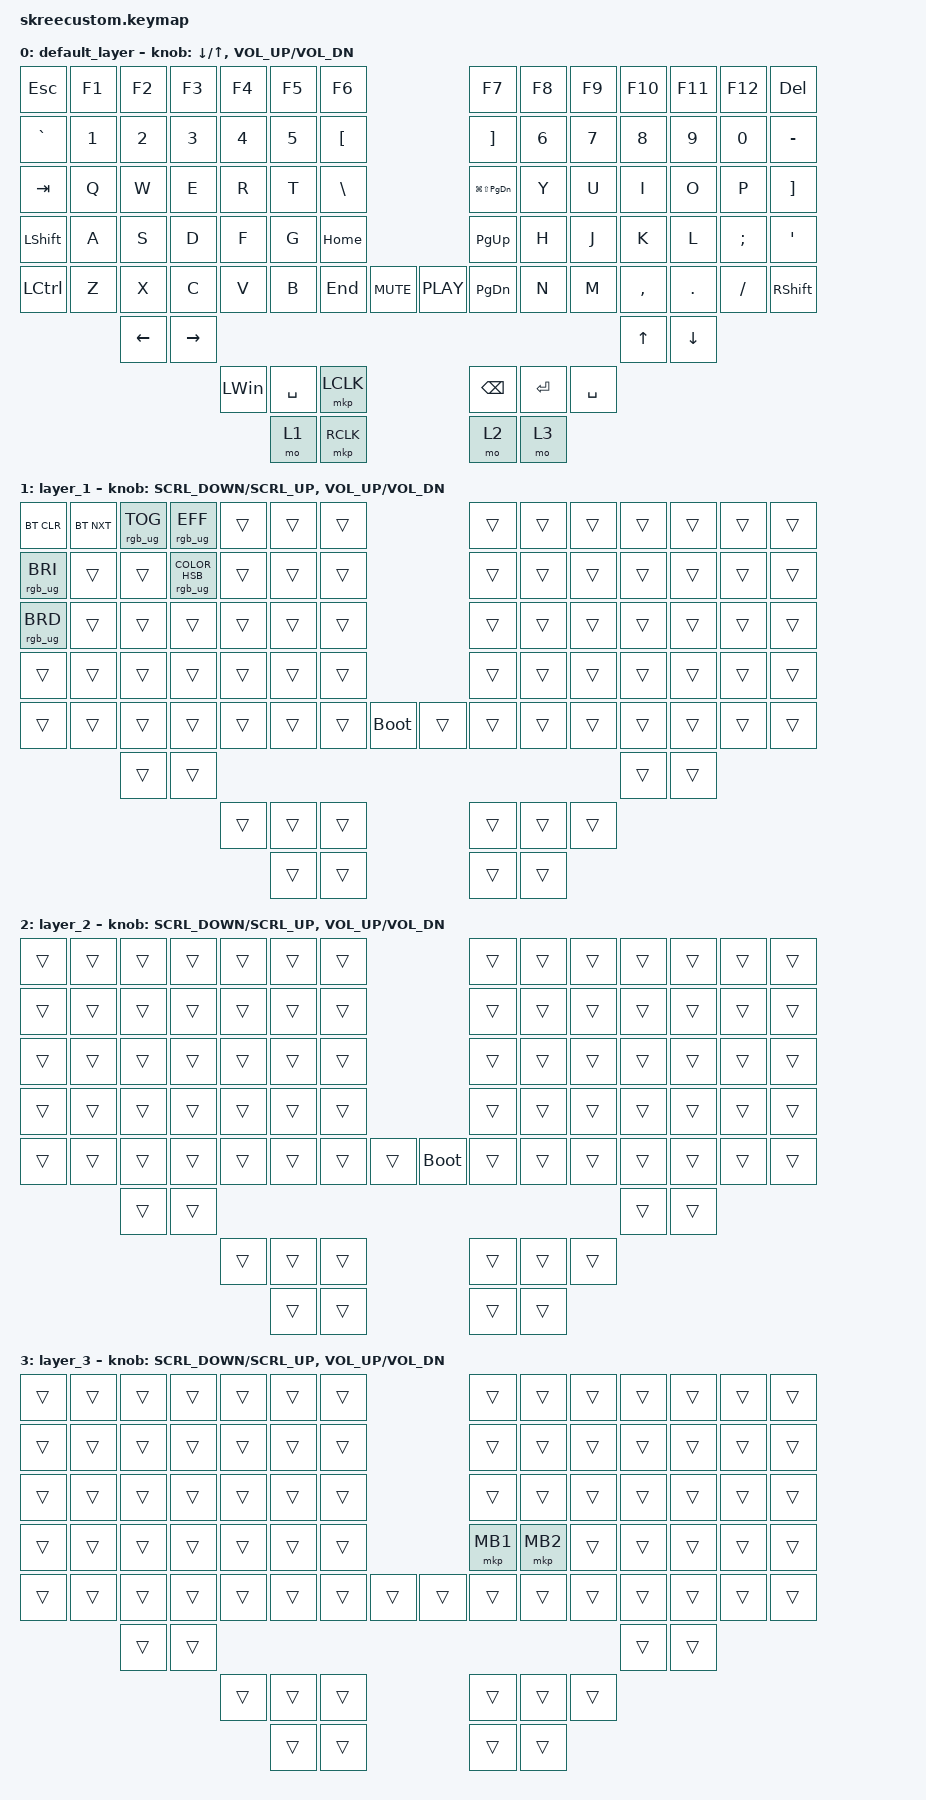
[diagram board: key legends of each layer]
/*
 * Copyright (c) 2020 The ZMK Contributors
 *
 * SPDX-License-Identifier: MIT
 */
//#include <behaviors/mouse_keys.dtsi>

#define ZMK_POINTING_DEFAULT_SCRL_VAL 140

#include <input/processors.dtsi>
#include <dt-bindings/zmk/input_transform.h>
#include <dt-bindings/zmk/mouse.h>
#include <behaviors.dtsi>
#include <dt-bindings/zmk/bt.h>
#include <dt-bindings/zmk/keys.h>
#include <dt-bindings/zmk/pointing.h>
#include <dt-bindings/zmk/rgb.h>

/ {
    behaviors {
        mouse_scroll: sensor_scroll {
            compatible = "zmk,behavior-sensor-rotate-var";
            #sensor-binding-cells = <2>;
            bindings = <&msc>, <&msc>;

            tap-ms = <5>;
        };
    };

    combos {
        compatible = "zmk,combos";

        layer0 {
            bindings = <&to 0>;
            key-positions = <82 14>;
        };

        layer1 {
            bindings = <&to 1>;
            key-positions = <82 15>;
        };

        layer2 {
            bindings = <&to 2>;
            key-positions = <82 16>;
        };

        layer3 {
            bindings = <&to 3>;
            key-positions = <82 17>;
        };
    };

    keymap {
        compatible = "zmk,keymap";

        default_layer {
            bindings = <
&kp ESC    &kp F1  &kp F2    &kp F3     &kp F4        &kp F5     &kp F6                               &kp F7                 &kp F8     &kp F9     &kp F10    &kp F11   &kp F12   &kp DEL
&kp GRAVE  &kp N1  &kp N2    &kp N3     &kp N4        &kp N5     &kp LBKT                             &kp RBKT               &kp N6     &kp N7     &kp N8     &kp N9    &kp N0    &kp MINUS
&kp TAB    &kp Q   &kp W     &kp E      &kp R         &kp T      &kp BSLH                             &kp LG(LS(PAGE_DOWN))  &kp Y      &kp U      &kp I      &kp O     &kp P     &kp RBKT
&kp LSHFT  &kp A   &kp S     &kp D      &kp F         &kp G      &kp HOME                             &kp PAGE_UP            &kp H      &kp J      &kp K      &kp L     &kp SEMI  &kp SQT
&kp LCTRL  &kp Z   &kp X     &kp C      &kp V         &kp B      &kp END    &kp C_MUTE    &kp C_PLAY  &kp PAGE_DOWN          &kp N      &kp M      &kp COMMA  &kp DOT   &kp FSLH  &kp RSHFT
                   &kp LEFT  &kp RIGHT                                                                                                             &kp UP     &kp DOWN
                                        &kp LEFT_WIN  &kp SPACE  &mkp LCLK                            &kp BACKSPACE          &kp ENTER  &kp SPACE
                                                      &mo 1      &mkp RCLK                            &mo 2                  &mo 3
            >;

            sensor-bindings =
                <&inc_dec_kp DOWN UP_ARROW>,
                <&inc_dec_kp C_VOL_UP C_VOL_DN>;
        };

        layer_1 {
            bindings = <
&bt BT_CLR       &bt BT_NXT  &rgb_ug RGB_TOG  &rgb_ug RGB_EFF                    &trans  &trans  &trans                         &trans  &trans  &trans  &trans  &trans  &trans  &trans
&rgb_ug RGB_BRI  &trans      &trans           &rgb_ug RGB_COLOR_HSB(269,100,35)  &trans  &trans  &trans                         &trans  &trans  &trans  &trans  &trans  &trans  &trans
&rgb_ug RGB_BRD  &trans      &trans           &trans                             &trans  &trans  &trans                         &trans  &trans  &trans  &trans  &trans  &trans  &trans
&trans           &trans      &trans           &trans                             &trans  &trans  &trans                         &trans  &trans  &trans  &trans  &trans  &trans  &trans
&trans           &trans      &trans           &trans                             &trans  &trans  &trans  &bootloader    &trans  &trans  &trans  &trans  &trans  &trans  &trans  &trans
                             &trans           &trans                                                                                                    &trans  &trans
                                                                                 &trans  &trans  &trans                         &trans  &trans  &trans
                                                                                         &trans  &trans                         &trans  &trans
            >;

            sensor-bindings =
                <&mouse_scroll SCRL_DOWN SCRL_UP>,
                <&inc_dec_kp C_VOL_UP C_VOL_DN>;
        };

        layer_2 {
            bindings = <
&trans  &trans  &trans  &trans  &trans  &trans  &trans                         &trans  &trans  &trans  &trans  &trans  &trans  &trans
&trans  &trans  &trans  &trans  &trans  &trans  &trans                         &trans  &trans  &trans  &trans  &trans  &trans  &trans
&trans  &trans  &trans  &trans  &trans  &trans  &trans                         &trans  &trans  &trans  &trans  &trans  &trans  &trans
&trans  &trans  &trans  &trans  &trans  &trans  &trans                         &trans  &trans  &trans  &trans  &trans  &trans  &trans
&trans  &trans  &trans  &trans  &trans  &trans  &trans  &trans    &bootloader  &trans  &trans  &trans  &trans  &trans  &trans  &trans
                &trans  &trans                                                                         &trans  &trans
                                &trans  &trans  &trans                         &trans  &trans  &trans
                                        &trans  &trans                         &trans  &trans
            >;

            sensor-bindings =
                <&mouse_scroll SCRL_DOWN SCRL_UP>,
                <&inc_dec_kp C_VOL_UP C_VOL_DN>;
        };

        layer_3 {
            bindings = <
&trans  &trans  &trans  &trans  &trans  &trans  &trans                    &trans    &trans    &trans  &trans  &trans  &trans  &trans
&trans  &trans  &trans  &trans  &trans  &trans  &trans                    &trans    &trans    &trans  &trans  &trans  &trans  &trans
&trans  &trans  &trans  &trans  &trans  &trans  &trans                    &trans    &trans    &trans  &trans  &trans  &trans  &trans
&trans  &trans  &trans  &trans  &trans  &trans  &trans                    &mkp MB1  &mkp MB2  &trans  &trans  &trans  &trans  &trans
&trans  &trans  &trans  &trans  &trans  &trans  &trans  &trans    &trans  &trans    &trans    &trans  &trans  &trans  &trans  &trans
                &trans  &trans                                                                        &trans  &trans
                                &trans  &trans  &trans                    &trans    &trans    &trans
                                        &trans  &trans                    &trans    &trans
            >;

            sensor-bindings =
                <&mouse_scroll SCRL_DOWN SCRL_UP>,
                <&inc_dec_kp C_VOL_UP C_VOL_DN>;
        };
    };
};

// //right hand trackball overrides
// &trackball_peripheral_listener {
//     input-processors =
//         <&zip_xy_transform INPUT_TRANSFORM_XY_SWAP>,//this gets it to the default installation orientation
//         <&zip_temp_layer 3 500>;//activate layer 3 within 500ms of the trackball moving
// };
// //left hand trackball overrides
// &trackball_central_listener {
//     input-processors = 
//         <&zip_xy_transform INPUT_TRANSFORM_XY_SWAP>,//this gets it to the default installation orientation
//         <&zip_xy_scaler 1 3>,//multiply sensitivity by 1, divide by 3 (make it slower for scrolling)
//         <&zip_xy_to_scroll_mapper>,//make this trackball output scrolling events by default instead of cursor movement
//         <&zip_scroll_transform INPUT_TRANSFORM_Y_INVERT>;//invert vertical scrolling so that the view moves in the same direction as the top of the trackball.
// };
